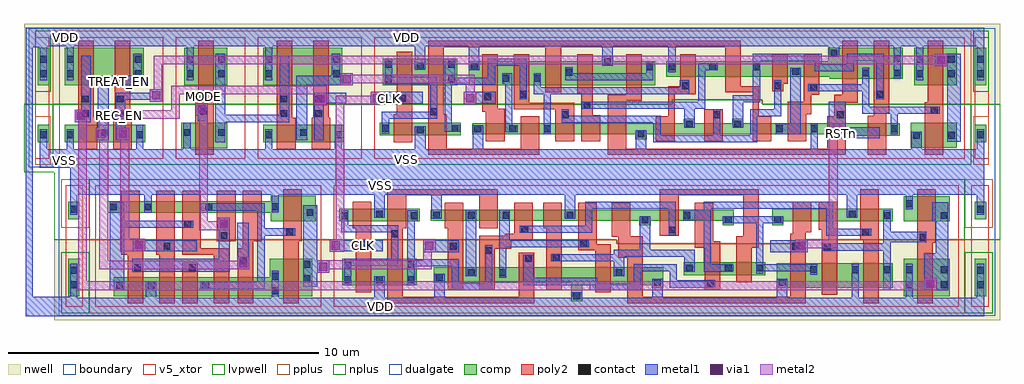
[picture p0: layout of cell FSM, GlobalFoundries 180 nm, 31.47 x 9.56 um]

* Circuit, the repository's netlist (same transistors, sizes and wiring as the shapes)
* Extracted by KLayout with GF180MCU LVS runset on : 11/08/2026 02:36

.SUBCKT FSM VDD RN|SETN Q|S0 D|Z I1|TREAT_EN M|S I0|Q|REC_EN CLK VSS Mb D
+ gf180mcu_gnd
M$1 VDD M|S \$4 VDD pfet_05v0 L=0.5U W=0.615U AS=0.2706P AD=0.1599P PS=2.11U
+ PD=1.135U
M$2 \$14 I0|Q|REC_EN VDD VDD pfet_05v0 L=0.5U W=0.615U AS=0.1599P AD=0.0738P
+ PS=1.135U PD=0.855U
M$3 \$5 M|S \$14 VDD pfet_05v0 L=0.5U W=0.615U AS=0.0738P AD=0.1599P PS=0.855U
+ PD=1.135U
M$4 \$13 \$4 \$5 VDD pfet_05v0 L=0.5U W=0.615U AS=0.1599P AD=0.0845625P
+ PS=1.135U PD=0.89U
M$5 VDD I1|TREAT_EN \$13 VDD pfet_05v0 L=0.5U W=0.615U AS=0.0845625P
+ AD=0.4298375P PS=0.89U PD=2.185U
M$6 D|Z \$5 VDD VDD pfet_05v0 L=0.5U W=1.22U AS=0.4298375P AD=0.5368P PS=2.185U
+ PD=3.32U
M$7 \$9 D|Z VDD VDD pfet_05v0 L=0.5U W=0.505U AS=0.22725P AD=0.1313P PS=1.91U
+ PD=1.025U
M$8 \$10 \$8 \$9 VDD pfet_05v0 L=0.5U W=0.505U AS=0.1313P AD=0.1931625P
+ PS=1.025U PD=1.27U
M$9 \$28 \$7 \$10 VDD pfet_05v0 L=0.5U W=0.505U AS=0.1931625P AD=0.101P
+ PS=1.27U PD=0.905U
M$10 \$28 \$11 VDD VDD pfet_05v0 L=0.5U W=0.505U AS=0.3975P AD=0.101P PS=2.185U
+ PD=0.905U
M$11 \$11 \$10 VDD VDD pfet_05v0 L=0.5U W=0.585U AS=0.3975P AD=0.1521P
+ PS=2.185U PD=1.105U
M$12 \$11 RN|SETN VDD VDD pfet_05v0 L=0.5U W=0.585U AS=0.4149P AD=0.1521P
+ PS=2.65U PD=1.105U
M$13 \$20 RN|SETN VDD VDD pfet_05v0 L=0.5U W=0.78U AS=0.3432P AD=0.2028P
+ PS=2.44U PD=1.3U
M$14 VDD \$12 \$20 VDD pfet_05v0 L=0.5U W=0.78U AS=0.2028P AD=0.3276P PS=1.3U
+ PD=1.62U
M$15 \$12 \$19 VDD VDD pfet_05v0 L=0.5U W=0.78U AS=0.3276P AD=0.3432P PS=1.62U
+ PD=2.44U
M$16 \$19 \$7 \$11 VDD pfet_05v0 L=0.5U W=0.415U AS=0.27805P AD=0.1079P
+ PS=2.17U PD=0.935U
M$17 \$20 \$8 \$19 VDD pfet_05v0 L=0.5U W=0.415U AS=0.1079P AD=0.1826P
+ PS=0.935U PD=1.71U
M$18 VDD CLK \$7 VDD pfet_05v0 L=0.5U W=0.865U AS=0.3806P AD=0.2249P PS=2.61U
+ PD=1.385U
M$19 \$8 \$7 VDD VDD pfet_05v0 L=0.5U W=0.865U AS=0.2249P AD=0.3806P PS=1.385U
+ PD=2.61U
M$20 Q|S0 \$12 VDD VDD pfet_05v0 L=0.5U W=1.215U AS=0.5346P AD=0.6561P PS=3.31U
+ PD=3.51U
M$21 \$49 D VDD VDD pfet_05v0 L=0.5U W=0.78U AS=0.3432P AD=0.2028P PS=2.44U
+ PD=1.3U
M$22 \$52 \$51 \$49 VDD pfet_05v0 L=0.5U W=0.78U AS=0.2028P AD=0.2028P PS=1.3U
+ PD=1.3U
M$23 \$67 \$48 \$52 VDD pfet_05v0 L=0.5U W=0.78U AS=0.2028P AD=0.2028P PS=1.3U
+ PD=1.3U
M$24 VDD \$53 \$67 VDD pfet_05v0 L=0.5U W=0.78U AS=0.2028P AD=0.45P PS=1.3U
+ PD=2.02U
M$25 \$67 RN|SETN VDD VDD pfet_05v0 L=0.5U W=0.78U AS=0.45P AD=0.3432P PS=2.02U
+ PD=2.44U
M$26 \$53 \$52 VDD VDD pfet_05v0 L=0.5U W=0.505U AS=0.2222P AD=0.2424P PS=1.89U
+ PD=1.465U
M$27 \$54 \$48 \$53 VDD pfet_05v0 L=0.5U W=0.505U AS=0.2424P AD=0.2537625P
+ PS=1.465U PD=1.51U
M$28 \$55 \$51 \$54 VDD pfet_05v0 L=0.5U W=0.505U AS=0.2537625P AD=0.1313P
+ PS=1.51U PD=1.025U
M$29 \$55 \$56 VDD VDD pfet_05v0 L=0.5U W=0.505U AS=0.29465P AD=0.1313P
+ PS=1.74U PD=1.025U
M$30 \$56 RN|SETN VDD VDD pfet_05v0 L=0.5U W=1U AS=0.29465P AD=0.26P PS=1.74U
+ PD=1.52U
M$31 VDD \$54 \$56 VDD pfet_05v0 L=0.5U W=1U AS=0.26P AD=0.44P PS=1.52U PD=2.88U
M$32 VDD CLK \$48 VDD pfet_05v0 L=0.5U W=0.865U AS=0.3806P AD=0.2249P PS=2.61U
+ PD=1.385U
M$33 \$51 \$48 VDD VDD pfet_05v0 L=0.5U W=0.865U AS=0.2249P AD=0.3806P
+ PS=1.385U PD=2.61U
M$34 I0|Q|REC_EN \$56 VDD VDD pfet_05v0 L=0.5U W=1.215U AS=0.5346P AD=0.5346P
+ PS=3.31U PD=3.31U
M$35 \$69 Q|S0 VDD VDD pfet_05v0 L=0.5U W=1.22U AS=0.5368P AD=0.4087P PS=3.32U
+ PD=1.89U
M$36 I1|TREAT_EN I0|Q|REC_EN \$69 VDD pfet_05v0 L=0.5U W=1.22U AS=0.4087P
+ AD=0.5368P PS=1.89U PD=3.32U
M$37 Mb M|S VDD VDD pfet_05v0 L=0.5U W=1.22U AS=0.5368P AD=0.5368P PS=3.32U
+ PD=3.32U
M$38 \$72 Mb VDD VDD pfet_05v0 L=0.5U W=1.22U AS=0.5368P AD=0.4087P PS=3.32U
+ PD=1.89U
M$39 D I1|TREAT_EN \$72 VDD pfet_05v0 L=0.5U W=1.22U AS=0.4087P AD=0.5368P
+ PS=1.89U PD=3.32U
M$40 \$9 D|Z VSS gf180mcu_gnd nfet_05v0 L=0.6U W=0.36U AS=0.1584P AD=0.0936P
+ PS=1.6U PD=0.88U
M$41 \$10 \$7 \$9 gf180mcu_gnd nfet_05v0 L=0.6U W=0.36U AS=0.0936P AD=0.0936P
+ PS=0.88U PD=0.88U
M$42 \$46 \$8 \$10 gf180mcu_gnd nfet_05v0 L=0.6U W=0.36U AS=0.0936P AD=0.0621P
+ PS=0.88U PD=0.705U
M$43 VSS \$11 \$46 gf180mcu_gnd nfet_05v0 L=0.6U W=0.36U AS=0.0621P AD=0.0936P
+ PS=0.705U PD=0.88U
M$44 \$44 \$10 VSS gf180mcu_gnd nfet_05v0 L=0.6U W=0.36U AS=0.0936P AD=0.0864P
+ PS=0.88U PD=0.84U
M$45 \$44 RN|SETN \$11 gf180mcu_gnd nfet_05v0 L=0.6U W=0.36U AS=0.1989P
+ AD=0.0864P PS=1.465U PD=0.84U
M$46 \$19 \$8 \$11 gf180mcu_gnd nfet_05v0 L=0.6U W=0.36U AS=0.1989P AD=0.0936P
+ PS=1.465U PD=0.88U
M$47 \$19 \$7 \$20 gf180mcu_gnd nfet_05v0 L=0.6U W=0.36U AS=0.2898P AD=0.0936P
+ PS=2.33U PD=0.88U
M$48 VSS CLK \$7 gf180mcu_gnd nfet_05v0 L=0.6U W=0.405U AS=0.1782P AD=0.1053P
+ PS=1.69U PD=0.925U
M$49 \$8 \$7 VSS gf180mcu_gnd nfet_05v0 L=0.6U W=0.405U AS=0.1053P AD=0.1782P
+ PS=0.925U PD=1.69U
M$50 \$40 RN|SETN \$20 gf180mcu_gnd nfet_05v0 L=0.6U W=0.405U AS=0.3123P
+ AD=0.0486P PS=2.38U PD=0.645U
M$51 VSS \$12 \$40 gf180mcu_gnd nfet_05v0 L=0.6U W=0.405U AS=0.0486P
+ AD=0.14985P PS=0.645U PD=1.145U
M$52 \$12 \$19 VSS gf180mcu_gnd nfet_05v0 L=0.6U W=0.405U AS=0.14985P
+ AD=0.1782P PS=1.145U PD=1.69U
M$53 VSS M|S \$4 gf180mcu_gnd nfet_05v0 L=0.6U W=0.36U AS=0.1584P AD=0.0936P
+ PS=1.6U PD=0.88U
M$54 \$42 I0|Q|REC_EN VSS gf180mcu_gnd nfet_05v0 L=0.6U W=0.36U AS=0.0936P
+ AD=0.0432P PS=0.88U PD=0.6U
M$55 \$5 \$4 \$42 gf180mcu_gnd nfet_05v0 L=0.6U W=0.36U AS=0.0432P AD=0.0936P
+ PS=0.6U PD=0.88U
M$56 \$43 M|S \$5 gf180mcu_gnd nfet_05v0 L=0.6U W=0.36U AS=0.0936P AD=0.0432P
+ PS=0.88U PD=0.6U
M$57 \$43 I1|TREAT_EN VSS gf180mcu_gnd nfet_05v0 L=0.6U W=0.36U AS=0.218P
+ AD=0.0432P PS=1.52U PD=0.6U
M$58 D|Z \$5 VSS gf180mcu_gnd nfet_05v0 L=0.6U W=0.82U AS=0.218P AD=0.3608P
+ PS=1.52U PD=2.52U
M$59 Q|S0 \$12 VSS gf180mcu_gnd nfet_05v0 L=0.6U W=0.815U AS=0.3586P AD=0.3586P
+ PS=2.51U PD=2.51U
M$60 I1|TREAT_EN Q|S0 VSS gf180mcu_gnd nfet_05v0 L=0.6U W=0.565U AS=0.2486P
+ AD=0.1469P PS=2.01U PD=1.085U
M$61 VSS I0|Q|REC_EN I1|TREAT_EN gf180mcu_gnd nfet_05v0 L=0.6U W=0.565U
+ AS=0.1469P AD=0.2486P PS=1.085U PD=2.01U
M$62 D Mb VSS gf180mcu_gnd nfet_05v0 L=0.6U W=0.565U AS=0.2486P AD=0.1469P
+ PS=2.01U PD=1.085U
M$63 VSS I1|TREAT_EN D gf180mcu_gnd nfet_05v0 L=0.6U W=0.565U AS=0.1469P
+ AD=0.2486P PS=1.085U PD=2.01U
M$64 \$49 D VSS gf180mcu_gnd nfet_05v0 L=0.6U W=0.36U AS=0.1584P AD=0.0936P
+ PS=1.6U PD=0.88U
M$65 \$52 \$48 \$49 gf180mcu_gnd nfet_05v0 L=0.6U W=0.36U AS=0.0936P AD=0.0936P
+ PS=0.88U PD=0.88U
M$66 \$66 \$51 \$52 gf180mcu_gnd nfet_05v0 L=0.6U W=0.36U AS=0.0936P AD=0.0432P
+ PS=0.88U PD=0.6U
M$67 \$65 \$53 \$66 gf180mcu_gnd nfet_05v0 L=0.6U W=0.36U AS=0.0432P AD=0.0432P
+ PS=0.6U PD=0.6U
M$68 \$65 RN|SETN VSS gf180mcu_gnd nfet_05v0 L=0.6U W=0.36U AS=0.2016P
+ AD=0.0432P PS=1.48U PD=0.6U
M$69 \$53 \$52 VSS gf180mcu_gnd nfet_05v0 L=0.6U W=0.36U AS=0.2016P AD=0.2007P
+ PS=1.48U PD=1.475U
M$70 \$54 \$51 \$53 gf180mcu_gnd nfet_05v0 L=0.6U W=0.36U AS=0.2007P AD=0.2007P
+ PS=1.475U PD=1.475U
M$71 \$55 \$48 \$54 gf180mcu_gnd nfet_05v0 L=0.6U W=0.36U AS=0.2007P AD=0.0945P
+ PS=1.475U PD=0.885U
M$72 VSS \$56 \$55 gf180mcu_gnd nfet_05v0 L=0.6U W=0.36U AS=0.0945P AD=0.1224P
+ PS=0.885U PD=1.04U
M$73 VSS RN|SETN \$61 gf180mcu_gnd nfet_05v0 L=0.6U W=0.36U AS=0.134P
+ AD=0.1224P PS=1.1U PD=1.04U
M$74 \$56 \$54 \$61 gf180mcu_gnd nfet_05v0 L=0.6U W=0.4U AS=0.134P AD=0.176P
+ PS=1.1U PD=1.68U
M$75 Mb M|S VSS gf180mcu_gnd nfet_05v0 L=0.6U W=0.82U AS=0.3608P AD=0.3608P
+ PS=2.52U PD=2.52U
M$76 VSS CLK \$48 gf180mcu_gnd nfet_05v0 L=0.6U W=0.405U AS=0.1782P AD=0.1053P
+ PS=1.69U PD=0.925U
M$77 \$51 \$48 VSS gf180mcu_gnd nfet_05v0 L=0.6U W=0.405U AS=0.1053P AD=0.1782P
+ PS=0.925U PD=1.69U
M$78 I0|Q|REC_EN \$56 VSS gf180mcu_gnd nfet_05v0 L=0.6U W=0.815U AS=0.3586P
+ AD=0.3586P PS=2.51U PD=2.51U
.ENDS FSM

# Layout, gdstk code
from math import pi, radians
import gdstk
lib = gdstk.Library(unit=1e-6, precision=1e-09)
def R(c, l, rs):  # rectangles x0, y0, x1, y1
    for r in rs: c.add(gdstk.rectangle(r[:2], r[2:], *l))
def A(c, l, x, y, w, h, nx, ny, dx, dy):  # array of equal rectangles
    R(c, l, [(x+i*dx, y+j*dy, x+i*dx+w, y+j*dy+h) for i in range(nx) for j in range(ny)])
def P(c, l, *ps):  # polygons
    for p in ps: c.add(gdstk.Polygon(p, *l))
boundary = (0, 0)
nwell = (21, 0)
comp = (22, 0)
poly2 = (30, 0)
pplus = (31, 0)
nplus = (32, 0)
contact = (33, 0)
metal1 = (34, 0)
via1 = (35, 0)
metal2 = (36, 0)
dualgate = (55, 0)
v5_xtor = (112, 1)
lvpwell = (204, 0)

mux21 = lib.new_cell('mux21')
R(mux21, boundary, [(-14.655,13.69,-7.375,17.61)])
R(mux21, nwell, [(-15.085,13.26,-7.035,15.85)])
P(mux21, comp, [(-14.475,16.45),(-14.475,17.27),(-13.035,17.27),(-13.035,17.09),(-7.775,17.09),(-7.775,16.73),(-13.035,16.73),(-13.035,16.45)],
  [(-14.375,14.03),(-14.375,15.25),(-12.995,15.25),(-12.995,14.645),(-7.975,14.645),(-7.975,14.03)])
R(mux21, poly2, [(-10.675,13.81,-10.175,15.135), (-11.895,15.815,-11.295,17.435)])
P(mux21, poly2, [(-8.915,13.81),(-8.915,15.815),(-8.815,15.815),(-8.815,17.435),(-8.215,17.435),(-8.215,15.375),(-8.415,15.375),(-8.415,13.81)],
  [(-9.935,13.81),(-9.935,17.435),(-9.335,17.435),(-9.335,15.375),(-9.435,15.375),(-9.435,13.81)],
  [(-11.695,13.81),(-11.695,15.575),(-10.775,15.575),(-10.775,17.435),(-10.175,17.435),(-10.175,15.375),(-11.195,15.375),(-11.195,13.81)],
  [(-12.47,13.81),(-12.47,15.815),(-12.735,15.815),(-12.735,17.435),(-12.135,17.435),(-12.135,15.575),(-11.97,15.575),(-11.97,13.81)],
  [(-13.935,13.81),(-13.935,15.815),(-14.035,15.815),(-14.035,17.49),(-13.435,17.49),(-13.435,13.81)])
R(mux21, pplus, [(-14.855,13.49,-7.175,15.85)])
R(mux21, nplus, [(-14.855,15.85,-7.175,17.81)])
R(mux21, contact, [(-13.285,14.1,-13.065,14.32), (-11.045,14.275,-10.825,14.495), (-9.285,14.275,-9.065,14.495), (-8.265,14.275,-8.045,14.495), (-14.305,14.49,-14.085,14.71), (-13.285,14.57,-13.065,14.79), (-10.605,14.845,-10.385,15.065), (-8.845,14.845,-8.625,15.065), (-14.305,14.96,-14.085,15.18), (-12.26,15.085,-12.04,15.305), (-9.795,15.54,-9.575,15.76), (-11.635,15.885,-11.415,16.105), (-13.755,15.99,-13.535,16.21), (-10.465,16.24,-10.245,16.46), (-14.405,16.625,-14.185,16.845), (-11.145,16.8,-10.925,17.02), (-9.185,16.8,-8.965,17.02), (-8.065,16.8,-7.845,17.02), (-13.285,16.805,-13.065,17.025)])
R(mux21, metal1, [(-14.525,14.34,-14.08,16.96), (-12.325,14.9,-11.945,16.4), (-10.645,15.49,-8.585,15.84)])
P(mux21, metal1, [(-9.19,16.73),(-9.19,17.31),(-13.06,17.31),(-13.06,16.745),(-13.29,16.745),(-13.29,17.31),(-14.655,17.31),(-14.655,18.17),(-7.375,18.17),(-7.375,17.31),(-8.96,17.31),(-8.96,16.73)],
  [(-14.655,13.39),(-14.655,13.99),(-13.29,13.99),(-13.29,14.85),(-13.06,14.85),(-13.06,13.99),(-9.345,13.99),(-9.345,14.505),(-9.005,14.505),(-9.005,13.99),(-7.375,13.99),(-7.375,13.39)],
  [(-8.305,14.23),(-8.305,16.235),(-10.53,16.235),(-10.53,16.465),(-8.305,16.465),(-8.305,17.08),(-7.84,17.08),(-7.84,14.23)],
  [(-11.715,14.825),(-11.715,16.165),(-11.36,16.165),(-11.36,15.25),(-8.565,15.25),(-8.565,14.825)],
  [(-12.83,14.27),(-12.83,15.985),(-13.815,15.985),(-13.815,16.22),(-12.83,16.22),(-12.83,17.035),(-10.775,17.035),(-10.775,16.795),(-12.6,16.795),(-12.6,14.5),(-10.765,14.5),(-10.765,14.27)])
R(mux21, dualgate, [(-14.935,13.41,-7.095,18.19)])
R(mux21, v5_xtor, [(-14.655,13.69,-7.375,17.61)])
R(mux21, lvpwell, [(-15.085,15.85,-7.035,18.04)])
mux21.add(gdstk.Label('& Metric 1.00', (-15.115,17.11), layer=63, texttype=63))
mux21.add(gdstk.Label('& Version 2015q2v1', (-15.115,16.61), layer=63, texttype=63))
mux21.add(gdstk.Label('& Product GF018hv5v_mcu_sc7', (-15.115,16.11), layer=63, texttype=63))
mux21.add(gdstk.Label('& Vendor GLOBALFOUNDRIES', (-15.115,15.61), layer=63, texttype=63))
mux21.add(gdstk.Label('VNW', (-14.31,13.69), layer=21, texttype=10))
mux21.add(gdstk.Label('VPW', (-14.315,17.695), layer=204, texttype=10))

nor2_2 = lib.new_cell('nor2_2')
R(nor2_2, boundary, [(-19.745,7.125,-16.385,11.045)])
R(nor2_2, nwell, [(-20.175,8.885,-16.185,11.475)])
R(nor2_2, comp, [(-19.565,7.65,-16.965,8.215), (-19.565,9.485,-17.015,10.705)])
P(nor2_2, poly2, [(-19.125,7.43),(-19.125,10.925),(-18.625,10.925),(-18.625,8.44),(-18.525,8.44),(-18.525,7.43)],
  [(-18.005,7.43),(-18.005,8.44),(-17.955,8.44),(-17.955,10.925),(-17.455,10.925),(-17.455,8.44),(-17.405,8.44),(-17.405,7.43)])
R(nor2_2, pplus, [(-19.945,8.885,-16.185,11.245)])
R(nor2_2, nplus, [(-19.945,6.925,-16.185,8.885)])
R(nor2_2, contact, [(-19.495,7.79,-19.275,8.01), (-17.255,7.79,-17.035,8.01), (-18.375,7.86,-18.155,8.08), (-19.005,8.47,-18.785,8.69), (-17.885,8.47,-17.665,8.69), (-19.005,8.94,-18.785,9.16), (-17.885,8.94,-17.665,9.16), (-19.495,9.755,-19.275,9.975), (-17.305,9.755,-17.085,9.975), (-19.495,10.225,-19.275,10.445), (-17.305,10.225,-17.085,10.445)])
R(nor2_2, metal1, [(-19.04,8.305,-18.735,10.445)])
P(nor2_2, metal1, [(-18.505,7.725),(-18.505,9.805),(-17.36,9.805),(-17.36,10.505),(-17.08,10.505),(-17.08,9.485),(-18.15,9.485),(-18.15,7.725)],
  [(-17.92,7.725),(-17.92,9.255),(-16.89,9.255),(-16.89,8.915),(-17.615,8.915),(-17.615,7.725)],
  [(-19.745,6.825),(-19.745,7.425),(-19.5,7.425),(-19.5,8.07),(-19.27,8.07),(-19.27,7.425),(-17.26,7.425),(-17.26,8.215),(-17.03,8.215),(-17.03,7.425),(-16.385,7.425),(-16.385,6.825)],
  [(-19.5,9.655),(-19.5,10.745),(-19.745,10.745),(-19.745,11.345),(-16.385,11.345),(-16.385,10.745),(-19.27,10.745),(-19.27,9.655)])
R(nor2_2, dualgate, [(-20.025,6.845,-16.105,11.325)])
R(nor2_2, v5_xtor, [(-19.745,7.125,-16.385,11.045)])
R(nor2_2, lvpwell, [(-20.175,6.695,-15.955,8.885)])
nor2_2.add(gdstk.Label('& Metric 1.00', (-19.745,7.625), layer=63, texttype=63))
nor2_2.add(gdstk.Label('& Version 2015q2v1', (-19.745,8.125), layer=63, texttype=63))
nor2_2.add(gdstk.Label('& Product GF018hv5v_mcu_sc7', (-19.745,8.625), layer=63, texttype=63))
nor2_2.add(gdstk.Label('& Vendor GLOBALFOUNDRIES', (-19.745,9.125), layer=63, texttype=63))

dffsnq = lib.new_cell('dffsnq')
R(dffsnq, boundary, [(15.93,14.02,36.09,17.94)])
P(dffsnq, nwell, [(15.73,13.59),(15.73,16.18),(25.065,16.18),(25.065,16.055),(31.095,16.055),(31.095,16.18),(36.52,16.18),(36.52,13.59)])
R(dffsnq, comp, [(34.315,14.365,35.795,15.58), (30.215,14.64,33.955,15.42), (16.21,14.715,18.61,15.58), (27.225,15.04,29.855,15.455), (16.11,16.78,18.71,17.185), (34.315,16.78,35.795,17.595)])
P(dffsnq, comp, [(30.075,16.655),(30.075,17.185),(33.955,17.185),(33.955,16.78),(30.435,16.78),(30.435,16.655)],
  [(25.795,16.655),(25.795,16.8),(19.07,16.8),(19.07,17.16),(28.835,17.16),(28.835,16.655),(28.475,16.655),(28.475,16.8),(26.155,16.8),(26.155,16.655)],
  [(23.595,14.2),(23.595,14.8),(19.16,14.8),(19.16,15.305),(26.555,15.305),(26.555,14.64),(26.195,14.64),(26.195,14.72),(23.955,14.72),(23.955,14.2)])
P(dffsnq, poly2, [(34.755,14.14),(34.755,17.82),(35.355,17.82),(35.355,16.09),(35.255,16.09),(35.255,14.14)],
  [(33.015,14.14),(33.015,16.185),(32.915,16.185),(32.915,17.82),(33.515,17.82),(33.515,14.14)],
  [(31.675,14.42),(31.675,16.5),(31.575,16.5),(31.575,17.405),(32.175,17.405),(32.175,14.42)],
  [(25.395,14.14),(25.395,15.605),(25.115,15.605),(25.115,16.285),(24.895,16.285),(24.895,17.38),(25.495,17.38),(25.495,16.305),(25.895,16.305),(25.895,14.34),(30.655,14.34),(30.655,16.385),(30.735,16.385),(30.735,17.405),(31.335,17.405),(31.335,16.435),(31.155,16.435),(31.155,14.14)],
  [(28.915,14.82),(28.915,16.305),(29.135,16.305),(29.135,17.62),(27.055,17.62),(27.055,16.32),(26.455,16.32),(26.455,17.82),(29.635,17.82),(29.635,15.935),(29.415,15.935),(29.415,14.82)],
  [(27.895,14.58),(27.895,15.935),(27.575,15.935),(27.575,17.38),(28.175,17.38),(28.175,16.135),(28.395,16.135),(28.395,14.58)],
  [(24.375,14.5),(24.375,15.845),(23.815,15.845),(23.815,17.38),(24.415,17.38),(24.415,16.045),(24.875,16.045),(24.875,14.5)],
  [(22.795,14.58),(22.795,16.56),(22.695,16.56),(22.695,17.38),(23.295,17.38),(23.295,14.58)],
  [(17.67,14.14),(17.67,17.82),(21.23,17.82),(21.23,16.56),(20.63,16.56),(20.63,17.62),(18.27,17.62),(18.27,16.56),(18.17,16.56),(18.17,14.34),(21.895,14.34),(21.895,15.765),(22.395,15.765),(22.395,14.14)],
  [(20.63,14.58),(20.63,16.32),(21.465,16.32),(21.465,16.385),(21.75,16.385),(21.75,17.38),(22.35,17.38),(22.35,16.185),(21.665,16.185),(21.665,15.89),(21.13,15.89),(21.13,14.58)],
  [(19.61,14.58),(19.61,16.56),(19.51,16.56),(19.51,17.38),(20.11,17.38),(20.11,14.58)],
  [(16.65,14.49),(16.65,16.56),(16.55,16.56),(16.55,17.405),(17.15,17.405),(17.15,14.49)])
P(dffsnq, pplus, [(15.73,13.82),(15.73,16.18),(25.065,16.18),(25.065,16.055),(31.095,16.055),(31.095,16.18),(36.29,16.18),(36.29,13.82)])
P(dffsnq, nplus, [(25.065,16.055),(25.065,16.18),(15.73,16.18),(15.73,18.14),(36.29,18.14),(36.29,16.18),(31.095,16.18),(31.095,16.055)])
A(dffsnq, contact, 16.28, 14.785, 0.22, 0.22, 3, 1, 1.02, 0)
A(dffsnq, contact, 19.14, 16.87, 0.22, 0.22, 3, 1, 1.12, 0)
R(dffsnq, contact, [(23.665,14.27,23.885,14.49), (34.385,14.62,34.605,14.84), (35.505,14.62,35.725,14.84), (27.965,14.65,28.185,14.87), (26.265,14.71,26.485,14.93), (30.285,14.71,30.505,14.93), (19.23,14.87,19.45,15.09), (20.26,15.015,20.48,15.235), (21.28,15.015,21.5,15.235), (25.025,15.015,25.245,15.235), (32.645,15.11,32.865,15.33), (33.665,15.11,33.885,15.33), (34.385,15.11,34.605,15.33), (35.505,15.11,35.725,15.33), (31.305,15.115,31.525,15.335), (27.295,15.165,27.515,15.385), (28.545,15.165,28.765,15.385), (29.565,15.165,29.785,15.385), (16.28,15.255,16.5,15.475), (18.32,15.275,18.54,15.495), (22.105,15.475,22.325,15.695), (23.005,15.49,23.225,15.71), (20.82,15.73,21.04,15.95), (31.745,15.85,31.965,16.07), (19.68,15.87,19.9,16.09), (30.725,15.87,30.945,16.09), (16.72,15.915,16.94,16.135), (23.885,15.95,24.105,16.17), (34.825,16.16,35.045,16.38), (17.795,16.265,18.015,16.485), (32.985,16.315,33.205,16.535), (26.745,16.39,26.965,16.61), (21.99,16.41,22.21,16.63), (25.865,16.725,26.085,16.945), (28.545,16.725,28.765,16.945), (30.145,16.725,30.365,16.945), (16.18,16.85,16.4,17.07), (18.42,16.85,18.64,17.07), (33.665,16.855,33.885,17.075), (35.505,16.855,35.725,17.075), (23.445,16.87,23.665,17.09), (27.205,16.87,27.425,17.09), (17.3,16.895,17.52,17.115), (32.545,16.895,32.765,17.115), (34.385,17.235,34.605,17.455)])
R(dffsnq, metal1, [(20.2,15.01,20.54,17.15), (18.82,15.79,19.96,16.17), (30.02,15.79,31.215,16.17), (16.205,15.81,17.52,16.175)])
P(dffsnq, metal1, [(19.08,16.865),(19.08,17.64),(17.58,17.64),(17.58,16.89),(17.24,16.89),(17.24,17.64),(15.93,17.64),(15.93,18.5),(36.09,18.5),(36.09,17.64),(34.61,17.64),(34.61,17.175),(34.38,17.175),(34.38,17.64),(32.825,17.64),(32.825,16.89),(32.485,16.89),(32.485,17.64),(23.725,17.64),(23.725,16.865),(23.385,16.865),(23.385,17.64),(19.42,17.64),(19.42,16.865)],
  [(15.93,13.72),(15.93,14.32),(17.24,14.32),(17.24,15.01),(17.58,15.01),(17.58,14.32),(19.17,14.32),(19.17,15.095),(19.51,15.095),(19.51,14.32),(23.605,14.32),(23.605,14.495),(23.945,14.495),(23.945,14.32),(26.205,14.32),(26.205,14.935),(26.545,14.935),(26.545,14.32),(30.225,14.32),(30.225,14.935),(30.565,14.935),(30.565,14.32),(32.64,14.32),(32.64,15.41),(32.87,15.41),(32.87,14.32),(34.38,14.32),(34.38,15.41),(34.61,15.41),(34.61,14.32),(36.09,14.32),(36.09,13.72)],
  [(34.975,14.56),(34.975,15.75),(35.355,15.75),(35.355,16.78),(35.23,16.78),(35.23,17.39),(35.745,17.39),(35.745,14.56)],
  [(33.66,14.56),(33.66,15.835),(31.685,15.835),(31.685,16.08),(33.66,16.08),(33.66,17.135),(33.89,17.135),(33.89,16.44),(35.05,16.44),(35.05,16.1),(33.89,16.1),(33.89,14.56)],
  [(27.86,15.16),(27.86,16.81),(27.2,16.81),(27.2,17.15),(27.86,17.15),(27.86,17.41),(32.04,17.41),(32.04,16.545),(33.265,16.545),(33.265,16.31),(31.81,16.31),(31.81,17.18),(28.09,17.18),(28.09,15.39),(28.825,15.39),(28.825,15.16)],
  [(31.3,15.055),(31.3,15.165),(29.79,15.165),(29.79,15.095),(29.56,15.095),(29.56,16.72),(28.485,16.72),(28.485,16.95),(30.425,16.95),(30.425,16.72),(29.79,16.72),(29.79,15.4),(31.53,15.4),(31.53,15.055)],
  [(24.2,14.55),(24.2,14.725),(22.045,14.725),(22.045,15.7),(22.385,15.7),(22.385,14.955),(24.43,14.955),(24.43,14.78),(25.615,14.78),(25.615,15.4),(27.005,15.4),(27.005,14.875),(28.245,14.875),(28.245,14.645),(26.775,14.645),(26.775,15.165),(25.845,15.165),(25.845,14.55)],
  [(24.965,15.01),(24.965,15.485),(22.945,15.485),(22.945,15.715),(24.965,15.715),(24.965,15.86),(25.805,15.86),(25.805,16.95),(26.145,16.95),(26.145,15.86),(27.575,15.86),(27.575,15.16),(27.235,15.16),(27.235,15.63),(25.305,15.63),(25.305,15.01)],
  [(26.74,16.325),(26.74,17.18),(24.27,17.18),(24.27,16.405),(21.93,16.405),(21.93,16.635),(24.04,16.635),(24.04,17.41),(26.97,17.41),(26.97,16.325)],
  [(21.275,14.955),(21.275,17.15),(21.605,17.15),(21.605,16.175),(24.165,16.175),(24.165,15.945),(21.505,15.945),(21.505,14.955)],
  [(19.74,14.55),(19.74,15.325),(18.545,15.325),(18.545,14.715),(18.315,14.715),(18.315,17.13),(18.645,17.13),(18.645,16.79),(18.55,16.79),(18.55,15.56),(19.97,15.56),(19.97,14.78),(20.815,14.78),(20.815,16.01),(21.045,16.01),(21.045,14.55)],
  [(16.275,14.715),(16.275,15.58),(17.79,15.58),(17.79,16.43),(16.175,16.43),(16.175,17.13),(16.405,17.13),(16.405,16.66),(18.02,16.66),(18.02,15.345),(16.505,15.345),(16.505,14.715)])
R(dffsnq, dualgate, [(15.65,13.74,36.37,18.52)])
R(dffsnq, v5_xtor, [(15.93,14.02,36.09,17.94)])
P(dffsnq, lvpwell, [(25.065,16.055),(25.065,16.18),(15.5,16.18),(15.5,18.37),(36.52,18.37),(36.52,16.18),(31.095,16.18),(31.095,16.055)])
dffsnq.add(gdstk.Label('& Metric 1.00', (16.39,17.44), layer=63, texttype=63))
dffsnq.add(gdstk.Label('& Version 2015q2v1', (16.39,16.94), layer=63, texttype=63))
dffsnq.add(gdstk.Label('& Product GF018hv5v_mcu_sc7', (16.39,16.44), layer=63, texttype=63))
dffsnq.add(gdstk.Label('& Vendor GLOBALFOUNDRIES', (16.39,15.94), layer=63, texttype=63))
dffsnq.add(gdstk.Label('VNW', (16.275,14.02), layer=21, texttype=10))
dffsnq.add(gdstk.Label('VPW', (16.27,18.025), layer=204, texttype=10))

nor2_1 = lib.new_cell('nor2_1')
R(nor2_1, boundary, [(-25.765,18.49,-22.405,22.41)])
R(nor2_1, nwell, [(-26.195,20.25,-21.975,22.84)])
R(nor2_1, comp, [(-25.585,19.015,-22.985,19.58), (-25.585,20.85,-23.035,22.07)])
P(nor2_1, poly2, [(-25.145,18.795),(-25.145,22.29),(-24.645,22.29),(-24.645,19.805),(-24.545,19.805),(-24.545,18.795)],
  [(-24.025,18.795),(-24.025,19.805),(-23.975,19.805),(-23.975,22.29),(-23.475,22.29),(-23.475,19.805),(-23.425,19.805),(-23.425,18.795)])
R(nor2_1, pplus, [(-25.965,20.25,-22.205,22.61)])
R(nor2_1, nplus, [(-25.965,18.29,-22.205,20.25)])
R(nor2_1, contact, [(-25.515,19.155,-25.295,19.375), (-23.275,19.155,-23.055,19.375), (-24.395,19.225,-24.175,19.445), (-25.025,19.835,-24.805,20.055), (-23.905,19.835,-23.685,20.055), (-25.025,20.305,-24.805,20.525), (-23.905,20.305,-23.685,20.525), (-25.515,21.12,-25.295,21.34), (-23.325,21.12,-23.105,21.34), (-25.515,21.59,-25.295,21.81), (-23.325,21.59,-23.105,21.81)])
R(nor2_1, metal1, [(-25.06,19.67,-24.755,21.81)])
P(nor2_1, metal1, [(-23.94,19.09),(-23.94,20.62),(-23.635,20.62),(-23.635,20.28),(-23.635,19.09)],
  [(-25.52,21.02),(-25.52,22.11),(-25.765,22.11),(-25.765,22.71),(-22.415,22.71),(-22.415,22.11),(-25.29,22.11),(-25.29,21.02)],
  [(-25.765,18.19),(-25.765,18.79),(-25.52,18.79),(-25.52,19.435),(-25.29,19.435),(-25.29,18.79),(-23.28,18.79),(-23.28,19.58),(-23.05,19.58),(-23.05,18.79),(-22.415,18.79),(-22.415,18.19)],
  [(-24.525,19.09),(-24.525,21.17),(-23.38,21.17),(-23.38,21.87),(-23.1,21.87),(-23.1,20.85),(-24.17,20.85),(-24.17,19.09)])
R(nor2_1, dualgate, [(-26.045,18.21,-22.125,22.69)])
R(nor2_1, v5_xtor, [(-25.765,18.49,-22.405,22.41)])
R(nor2_1, lvpwell, [(-26.195,18.06,-21.975,20.25)])

tap = lib.new_cell('tap')
R(tap, boundary, [(0.635,0.43,1.195,4.35)])
R(tap, nwell, [(0.265,0,1.395,2.59)])
R(tap, comp, [(0.715,0.77,1.075,1.99), (0.715,3.26,1.075,3.825)])
R(tap, pplus, [(0.495,2.99,1.395,4.55)])
R(tap, nplus, [(0.495,0.23,1.395,2.19)])
R(tap, contact, [(0.785,1.03,1.005,1.25), (0.785,1.5,1.005,1.72), (0.785,3.465,1.005,3.685)])
P(tap, metal1, [(0.78,0.13),(0.78,0.73),(0.78,1.82),(1.01,1.82),(1.01,0.73),(1.255,0.73),(1.255,0.13)],
  [(0.78,3.405),(0.78,4.05),(0.78,4.91),(1.255,4.91),(1.255,4.05),(1.01,4.05),(1.01,3.405)])
R(tap, dualgate, [(0.415,0.15,1.475,4.93)])
R(tap, v5_xtor, [(0.635,0.43,1.195,4.35)])
R(tap, lvpwell, [(0.265,2.59,1.395,4.78)])

dffrnq = lib.new_cell('dffrnq')
R(dffrnq, boundary, [(-4.465,11.575,14.575,15.495)])
P(dffrnq, nwell, [(-4.665,13.335),(-4.665,15.925),(15.005,15.925),(15.005,13.335),(8.05,13.335),(8.05,13.47),(5.135,13.47),(5.135,13.335)])
R(dffrnq, comp, [(12.84,11.92,14.32,12.735), (-4.285,12.33,-1.685,12.735), (-4.185,13.935,-1.785,14.8), (12.94,13.935,14.32,15.15)])
P(dffrnq, comp, [(10.22,14.155),(10.22,14.21),(4.955,14.21),(4.955,14.715),(10.18,14.715),(10.18,15.155),(12.58,15.155),(12.58,14.155)],
  [(3.955,12.195),(3.955,12.355),(-1.305,12.355),(-1.305,12.715),(5.515,12.715),(5.515,12.87),(5.875,12.87),(5.875,12.715),(7.075,12.715),(7.075,12.87),(7.435,12.87),(7.435,12.715),(12.48,12.715),(12.48,12.315),(11.04,12.315),(11.04,12.355),(4.315,12.355),(4.315,12.195)],
  [(-1.425,13.935),(-1.425,14.715),(2.875,14.715),(2.875,14.875),(3.235,14.875),(3.235,14.715),(4.595,14.715),(4.595,13.935)])
R(dffrnq, poly2, [(6.175,12.135,6.775,13.175)])
P(dffrnq, poly2, [(13.28,11.695),(13.28,13.395),(13.38,13.395),(13.38,15.375),(13.88,15.375),(13.88,11.695)],
  [(11.44,11.695),(11.44,12.955),(11.64,12.955),(11.64,15.375),(12.14,15.375),(12.14,13.035),(12.04,13.035),(12.04,11.695)],
  [(3.055,11.695),(3.055,13.635),(3.655,13.635),(3.655,14.935),(4.155,14.935),(4.155,13.435),(3.655,13.435),(3.655,11.895),(10.14,11.895),(10.14,12.935),(10.36,12.935),(10.36,13.635),(10.62,13.635),(10.62,15.375),(11.12,15.375),(11.12,13.38),(10.74,13.38),(10.74,11.695)],
  [(8.86,12.135),(8.86,13.415),(9.38,13.415),(9.38,14.935),(9.88,14.935),(9.88,13.635),(9.62,13.635),(9.62,13.015),(9.46,13.015),(9.46,12.135)],
  [(8.36,13.75),(8.36,14.935),(8.86,14.935),(8.86,13.99),(8.72,13.99),(8.72,13.75)],
  [(-2.725,11.695),(-2.725,15.375),(7.355,15.375),(7.355,13.91),(7.935,13.91),(7.935,12.935),(8.335,12.935),(8.335,12.135),(7.735,12.135),(7.735,13.71),(6.855,13.71),(6.855,15.175),(1.555,15.175),(1.555,13.715),(1.055,13.715),(1.055,15.175),(-2.225,15.175),(-2.225,13.015),(-2.125,13.015),(-2.125,11.895),(0.255,11.895),(0.255,12.935),(0.855,12.935),(0.855,11.695)],
  [(4.615,12.135),(4.615,12.935),(5.015,12.935),(5.015,13.91),(5.395,13.91),(5.395,14.935),(5.895,14.935),(5.895,13.645),(5.215,13.645),(5.215,12.135)],
  [(2.215,12.135),(2.215,13.69),(2.075,13.69),(2.075,14.935),(2.575,14.935),(2.575,12.975),(2.815,12.975),(2.815,12.135)],
  [(1.375,12.135),(1.375,13.175),(0.035,13.175),(0.035,14.935),(0.535,14.935),(0.535,13.375),(1.975,13.375),(1.975,12.135)],
  [(-0.865,12.135),(-0.865,13.085),(-0.985,13.085),(-0.985,14.935),(-0.485,14.935),(-0.485,13.185),(-0.265,13.185),(-0.265,12.135)],
  [(-3.845,12.11),(-3.845,13.015),(-3.745,13.015),(-3.745,15.025),(-3.245,15.025),(-3.245,12.11)])
P(dffrnq, pplus, [(-4.665,13.335),(-4.665,15.695),(14.775,15.695),(14.775,13.335),(8.05,13.335),(8.05,13.47),(5.135,13.47),(5.135,13.335)])
P(dffrnq, nplus, [(-4.665,11.375),(-4.665,13.335),(5.135,13.335),(5.135,13.47),(8.05,13.47),(8.05,13.335),(14.775,13.335),(14.775,11.375)])
A(dffrnq, contact, -1.235, 12.425, 0.22, 0.22, 3, 1, 1.12, 0)
R(dffrnq, contact, [(12.91,12.225,13.13,12.445), (14.03,12.225,14.25,12.445), (4.025,12.265,4.245,12.485), (-3.095,12.4,-2.875,12.62), (8.49,12.425,8.71,12.645), (9.61,12.425,9.83,12.645), (12.19,12.425,12.41,12.645), (-4.215,12.445,-3.995,12.665), (-1.975,12.445,-1.755,12.665), (5.585,12.58,5.805,12.8), (7.145,12.58,7.365,12.8), (1.585,12.885,1.805,13.105), (6.465,12.885,6.685,13.105), (10.45,12.885,10.67,13.105), (-2.655,12.98,-2.435,13.2), (13.485,13.03,13.705,13.25), (2.285,13.19,2.505,13.41), (-3.675,13.41,-3.455,13.63), (-0.915,13.46,-0.695,13.68), (0.225,13.545,0.445,13.765), (11.73,13.545,11.95,13.765), (9.59,13.755,9.81,13.975), (5.465,13.82,5.685,14.04), (8.43,13.82,8.65,14.04), (-4.115,14.04,-3.895,14.26), (-2.075,14.04,-1.855,14.26), (-0.335,14.055,-0.115,14.275), (0.685,14.055,0.905,14.275), (13.01,14.205,13.23,14.425), (14.03,14.205,14.25,14.425), (11.27,14.225,11.49,14.445), (12.29,14.225,12.51,14.445), (1.705,14.25,1.925,14.47), (9.01,14.28,9.23,14.5), (-1.355,14.425,-1.135,14.645), (4.305,14.425,4.525,14.645), (5.025,14.425,5.245,14.645), (6.335,14.425,6.555,14.645), (7.75,14.425,7.97,14.645), (-3.095,14.445,-2.875,14.665), (-4.115,14.51,-3.895,14.73), (-2.075,14.51,-1.855,14.73), (2.945,14.585,3.165,14.805), (13.01,14.675,13.23,14.895), (14.03,14.675,14.25,14.895), (12.29,14.695,12.51,14.915), (10.25,14.86,10.47,15.08)])
R(dffrnq, metal1, [(14.01,12.125,14.445,14.955), (-4.185,13.345,-2.895,13.725), (-1.575,13.345,-0.545,13.725)])
P(dffrnq, metal1, [(13.005,14.105),(13.005,15.195),(12.515,15.195),(12.515,14.165),(12.285,14.165),(12.285,15.195),(10.53,15.195),(10.53,14.855),(10.19,14.855),(10.19,15.195),(5.25,15.195),(5.25,14.365),(5.02,14.365),(5.02,15.195),(3.225,15.195),(3.225,14.565),(2.885,14.565),(2.885,15.195),(-1.075,15.195),(-1.075,14.42),(-1.415,14.42),(-1.415,15.195),(-2.815,15.195),(-2.815,14.44),(-3.155,14.44),(-3.155,15.195),(-4.465,15.195),(-4.465,15.795),(14.575,15.795),(14.575,15.195),(13.235,15.195),(13.235,14.105)],
  [(-4.465,11.275),(-4.465,11.875),(-3.155,11.875),(-3.155,12.625),(-2.81,12.625),(-2.81,11.875),(-1.295,11.875),(-1.295,12.65),(-0.955,12.65),(-0.955,11.875),(3.965,11.875),(3.965,12.49),(4.305,12.49),(4.305,11.875),(9.605,11.875),(9.605,12.705),(9.835,12.705),(9.835,11.875),(12.85,11.875),(12.85,12.45),(13.19,12.45),(13.19,11.875),(14.575,11.875),(14.575,11.275)],
  [(12.185,12.365),(12.185,13.025),(11.265,13.025),(11.265,13.75),(9.53,13.75),(9.53,13.98),(11.265,13.98),(11.265,14.505),(11.495,14.505),(11.495,13.255),(13.765,13.255),(13.765,13.025),(12.415,13.025),(12.415,12.365)],
  [(7.085,12.575),(7.085,13.625),(7.745,13.625),(7.745,14.965),(9.96,14.965),(9.96,14.625),(10.77,14.625),(10.77,14.965),(11.955,14.965),(11.955,13.485),(11.725,13.485),(11.725,14.735),(11,14.735),(11,14.395),(9.73,14.395),(9.73,14.735),(7.975,14.735),(7.975,13.395),(7.425,13.395),(7.425,12.575)],
  [(10.195,12.235),(10.195,13.405),(10.74,13.405),(10.74,12.595),(11.83,12.595),(11.83,12.235)],
  [(8.485,12.365),(8.485,12.705),(8.95,12.705),(8.95,14.505),(9.29,14.505),(9.29,12.365)],
  [(4.535,12.105),(4.535,12.725),(1.58,12.725),(1.58,13.165),(1.81,13.165),(1.81,12.955),(4.765,12.955),(4.765,12.335),(6.46,12.335),(6.46,13.165),(6.69,13.165),(6.69,12.335),(7.655,12.335),(7.655,13.165),(8.425,13.165),(8.425,14.1),(8.655,14.1),(8.655,12.935),(7.885,12.935),(7.885,12.105)],
  [(5.525,12.575),(5.525,13.185),(2.225,13.185),(2.225,13.415),(5.975,13.415),(5.975,14.65),(6.615,14.65),(6.615,14.42),(6.205,14.42),(6.205,13.185),(5.865,13.185),(5.865,12.575)],
  [(1,12.365),(1,13.645),(0.68,13.645),(0.68,14.335),(0.91,14.335),(0.91,13.875),(5.39,13.875),(5.39,14.1),(5.69,14.1),(5.69,13.645),(1.23,13.645),(1.23,12.365)],
  [(1.7,14.105),(1.7,14.53),(1.93,14.53),(1.93,14.335),(4.3,14.335),(4.3,14.705),(4.53,14.705),(4.53,14.105)],
  [(-2.2,12.44),(-2.2,14.79),(-1.85,14.79),(-1.85,14.19),(-0.8,14.19),(-0.8,14.795),(0.45,14.795),(0.45,13.485),(0.22,13.485),(0.22,14.565),(-0.57,14.565),(-0.57,13.96),(-1.97,13.96),(-1.97,12.67),(-1.695,12.67),(-1.695,12.44)],
  [(-0.24,12.42),(-0.24,13.995),(-0.34,13.995),(-0.34,14.335),(-0.01,14.335),(-0.01,12.65),(0.165,12.65),(0.165,12.42)],
  [(-4.22,12.385),(-4.22,13.085),(-2.66,13.085),(-2.66,13.98),(-4.12,13.98),(-4.12,14.8),(-3.89,14.8),(-3.89,14.21),(-2.43,14.21),(-2.43,12.855),(-3.99,12.855),(-3.99,12.385)])
R(dffrnq, dualgate, [(-4.745,11.295,14.855,15.775)])
R(dffrnq, v5_xtor, [(-4.465,11.575,14.575,15.495)])
P(dffrnq, lvpwell, [(-4.895,11.145),(-4.895,13.335),(5.135,13.335),(5.135,13.47),(8.05,13.47),(8.05,13.335),(15.005,13.335),(15.005,11.145)])
dffrnq.add(gdstk.Label('& Metric 1.00', (-4.465,12.075), layer=63, texttype=63))
dffrnq.add(gdstk.Label('& Version 2015q2v1', (-4.465,12.575), layer=63, texttype=63))
dffrnq.add(gdstk.Label('& Product GF018hv5v_mcu_sc7', (-4.465,13.075), layer=63, texttype=63))
dffrnq.add(gdstk.Label('& Vendor GLOBALFOUNDRIES', (-4.465,13.575), layer=63, texttype=63))
dffrnq.add(gdstk.Label('VNW', (-4.12,15.495), layer=21, texttype=10))
dffrnq.add(gdstk.Label('VPW', (-4.125,11.49), layer=204, texttype=10))

tap2 = lib.new_cell('tap2')
R(tap2, boundary, [(-2.38,0.43,-1.935,4.35)])
R(tap2, nwell, [(-2.42,2.19,-1.565,4.78)])
R(tap2, comp, [(-2.375,0.955,-2.015,1.52), (-2.375,2.79,-2.015,4.01)])
R(tap2, pplus, [(-2.42,0.23,-1.935,1.79)])
R(tap2, nplus, [(-2.42,2.59,-1.935,4.55)])
R(tap2, contact, [(-2.305,1.095,-2.085,1.315), (-2.305,3.06,-2.085,3.28), (-2.305,3.53,-2.085,3.75)])
P(tap2, metal1, [(-2.44,0.13),(-2.44,0.73),(-2.31,0.73),(-2.31,1.375),(-2.08,1.375),(-2.08,0.73),(-2.08,0.13)],
  [(-2.31,2.96),(-2.31,4.05),(-2.44,4.05),(-2.44,4.65),(-2.08,4.65),(-2.08,4.05),(-2.08,2.96)])
R(tap2, dualgate, [(-2.5,0.15,-1.715,4.63)])
R(tap2, v5_xtor, [(-2.38,0.43,-1.935,4.35)])
R(tap2, lvpwell, [(-2.42,0,-1.565,2.19)])

via_dev = lib.new_cell('via_dev')
R(via_dev, metal1, [(0,0,0.4,0.4)])
R(via_dev, via1, [(0.07,0.07,0.33,0.33)])
R(via_dev, metal2, [(0,0,0.4,0.4)])

inv1 = lib.new_cell('inv1')
R(inv1, boundary, [(0.43,0.43,2.67,4.35)])
R(inv1, nwell, [(0,2.19,3.1,4.78)])
R(inv1, comp, [(0.61,0.77,2.09,1.59), (0.71,2.79,2.09,4.01)])
P(inv1, poly2, [(1.05,0.55),(1.05,2.36),(1.15,2.36),(1.15,4.23),(1.65,4.23),(1.65,0.55)])
R(inv1, pplus, [(0.23,2.19,2.87,4.55)])
R(inv1, nplus, [(0.23,0.23,2.87,2.19)])
R(inv1, contact, [(0.68,1.165,0.9,1.385), (1.8,1.165,2.02,1.385), (1.22,1.85,1.44,2.07), (1.22,2.32,1.44,2.54), (0.78,3.06,1,3.28), (1.8,3.06,2.02,3.28), (0.78,3.53,1,3.75), (1.8,3.53,2.02,3.75)])
R(inv1, metal1, [(1.695,0.96,2.025,3.82), (1.14,1.63,1.465,2.63)])
P(inv1, metal1, [(0.43,0.13),(0.43,0.73),(0.675,0.73),(0.675,1.59),(0.905,1.59),(0.905,0.73),(2.67,0.73),(2.67,0.13)],
  [(0.775,2.96),(0.775,4.05),(0.43,4.05),(0.43,4.65),(2.67,4.65),(2.67,4.05),(1.005,4.05),(1.005,2.96)])
R(inv1, dualgate, [(0.15,0.15,2.95,4.63)])
R(inv1, v5_xtor, [(0.43,0.43,2.67,4.35)])
R(inv1, lvpwell, [(0,0,3.1,2.19)])
inv1.add(gdstk.Label('& Vendor GLOBALFOUNDRIES', (0.43,2.43), layer=63, texttype=63))
inv1.add(gdstk.Label('& Product GF018hv5v_mcu_sc7', (0.43,1.93), layer=63, texttype=63))
inv1.add(gdstk.Label('& Version 2015q2v1', (0.43,1.43), layer=63, texttype=63))
inv1.add(gdstk.Label('& Metric 1.00', (0.43,0.93), layer=63, texttype=63))
inv1.add(gdstk.Label('VNW', (0.775,4.35), layer=21, texttype=10))
inv1.add(gdstk.Label('VPW', (0.77,0.345), layer=204, texttype=10))

fsm = lib.new_cell('FSM')
R(fsm, boundary, [(14.35,6.365,14.91,10.285), (-15.82,11.145,-15.375,15.065)])
R(fsm, nwell, [(14.15,5.935,15.28,8.525), (-16.19,12.905,-15.335,15.495)])
R(fsm, comp, [(14.47,6.705,14.83,7.925), (14.47,9.195,14.83,9.76), (-15.74,11.67,-15.38,12.235), (-15.74,13.505,-15.38,14.725)])
R(fsm, pplus, [(14.15,8.925,15.05,10.485), (-15.82,10.945,-15.335,12.505)])
R(fsm, nplus, [(14.15,6.165,15.05,8.125), (-15.82,13.305,-15.335,15.265)])
R(fsm, contact, [(14.54,6.965,14.76,7.185), (14.54,7.435,14.76,7.655), (14.54,9.4,14.76,9.62), (-15.67,11.81,-15.45,12.03), (-15.67,13.775,-15.45,13.995), (-15.67,14.245,-15.45,14.465)])
R(fsm, metal1, [(-16.135,6.065,-14.705,6.685), (-14.23,6.065,-13.89,6.665), (-6.61,6.065,-6.21,6.665), (13.95,6.065,14.29,6.665), (-16.135,6.685,-15.905,14.745), (-14.23,9.985,-13.89,10.845), (-6.61,9.985,-6.21,10.845), (13.95,9.985,14.29,10.845), (-15.395,10.845,-15.055,11.445), (-11.705,10.845,-11.295,11.445), (-9.055,10.845,-8.655,11.445), (-5.295,10.845,-4.895,11.445), (14.145,10.845,14.405,11.445), (-9.7,12.325,-7.95,12.555), (-12.925,13.045,-12.13,13.275), (-16.135,14.745,-15.675,15.365), (-15.395,14.765,-15.055,15.365), (-11.705,14.765,-11.295,15.365), (-9.055,14.765,-8.655,15.365), (-5.295,14.765,-4.895,15.365), (14.145,14.765,14.405,15.365)])
P(fsm, metal1, [(14.535,9.34),(14.535,9.985),(14.29,9.985),(14.29,10.845),(14.765,10.845),(14.765,9.985),(14.765,9.34)],
  [(14.29,6.065),(14.29,6.665),(14.535,6.665),(14.535,7.755),(14.765,7.755),(14.765,6.665),(14.765,6.065)],
  [(-15.675,10.845),(-15.675,11.445),(-15.675,12.09),(-15.445,12.09),(-15.445,11.445),(-15.395,11.445),(-15.395,10.845)],
  [(-15.675,13.675),(-15.675,14.765),(-15.675,15.365),(-15.395,15.365),(-15.395,14.765),(-15.445,14.765),(-15.445,13.675)])
R(fsm, metal2, [(-14.44,6.905,12.835,7.185), (-14.44,7.185,-14.16,12.325), (-13.76,7.575,-9.32,7.855), (-6.34,7.585,-3.32,7.865), (-3.32,7.585,-3.04,8.135), (-13.76,7.855,-13.48,11.745), (-6.145,8.145,-5.865,12.895), (-13.08,8.165,-12.8,11.745), (-12.8,8.165,-12.68,8.565), (9.075,8.255,9.765,8.535), (9.765,8.255,10.045,11.805), (-10.54,8.84,-10.26,12.535), (-10.26,8.84,-9.95,9.12), (-13.76,12.145,-13.48,12.705), (-13.48,12.425,-11.17,12.705), (-11.45,12.705,-11.17,13.215), (-6.145,12.895,-5.015,13.175), (-11.45,13.215,-6.43,13.495), (-1.94,13.295,-1.66,13.575), (-12.01,13.385,-11.73,14.47), (-5.59,13.575,-1.66,13.855), (-11.73,14.19,13.18,14.47)])
R(fsm, dualgate, [(14.07,6.085,15.13,10.865), (-16.04,10.865,-15.255,15.345)])
R(fsm, v5_xtor, [(14.35,6.365,14.91,10.285), (-15.82,11.145,-15.375,15.065)])
R(fsm, lvpwell, [(14.15,8.525,15.28,10.715), (-16.19,10.715,-15.335,12.905)])
fsm.add(gdstk.Reference(mux21, (-21.265,-7.325), rotation=pi, x_reflection=True))
fsm.add(gdstk.Reference(nor2_2, (11.09,4.02)))
fsm.add(gdstk.Reference(dffsnq, (-22.14,-7.655)))
fsm.add(gdstk.Reference(nor2_1, (10.71,-7.345)))
fsm.add(gdstk.Reference(tap, (-15.485,5.935)))
fsm.add(gdstk.Reference(dffrnq, (-0.43,-0.43)))
fsm.add(gdstk.Reference(tap2, (16.845,10.715)))
fsm.add(gdstk.Reference(via_dev, (-6.43,12.875), rotation=pi/2))
fsm.add(gdstk.Reference(via_dev, (13.58,14.125), rotation=pi/2))
fsm.add(gdstk.Reference(via_dev, (-11.73,12.985), rotation=pi/2))
fsm.add(gdstk.Reference(via_dev, (-1.605,12.895), rotation=pi/2))
fsm.add(gdstk.Reference(via_dev, (-5.59,13.505), rotation=pi/2))
fsm.add(gdstk.Reference(via_dev, (-4.615,12.895), rotation=pi/2))
fsm.add(gdstk.Reference(via_dev, (-5.935,8.145), rotation=pi/2))
fsm.add(gdstk.Reference(via_dev, (-10.26,12.535), rotation=pi/2))
fsm.add(gdstk.Reference(via_dev, (-13.48,11.745), rotation=pi/2))
fsm.add(gdstk.Reference(via_dev, (-8.92,7.575), rotation=pi/2))
fsm.add(gdstk.Reference(via_dev, (-12.28,8.165), rotation=pi/2))
fsm.add(gdstk.Reference(via_dev, (-9.55,8.84), rotation=pi/2))
fsm.add(gdstk.Reference(via_dev, (-6.34,7.465), rotation=pi/2))
fsm.add(gdstk.Reference(via_dev, (-2.92,8.135), rotation=pi/2))
fsm.add(gdstk.Reference(via_dev, (9.075,8.135), rotation=pi/2))
fsm.add(gdstk.Reference(via_dev, (10.165,11.805), rotation=pi/2))
fsm.add(gdstk.Reference(via_dev, (-14.16,12.325), rotation=pi/2))
fsm.add(gdstk.Reference(via_dev, (12.835,7.305), rotation=3*pi/2))
fsm.add(gdstk.Reference(via_dev, (-12.8,11.745), rotation=pi/2))
fsm.add(gdstk.Reference(inv1, (-11.725,10.715)))
fsm.add(gdstk.Label('MODE', (-10.41,13.145), layer=34, texttype=10))
fsm.add(gdstk.Label('RSTn', (10.155,11.965), layer=34, texttype=10))
fsm.add(gdstk.Label('VSS', (-4.695,10.295), layer=34, texttype=10))
fsm.add(gdstk.Label('CLK', (-5.255,8.335), layer=34, texttype=10))
fsm.add(gdstk.Label('VDD', (-4.695,6.375), layer=34, texttype=10))
fsm.add(gdstk.Label('TREAT_EN', (-13.11,13.63), layer=34, texttype=10))
fsm.add(gdstk.Label('VSS', (-3.845,11.125), layer=34, texttype=10))
fsm.add(gdstk.Label('CLK', (-4.405,13.085), layer=34, texttype=10))
fsm.add(gdstk.Label('VDD', (-3.845,15.045), layer=34, texttype=10))
fsm.add(gdstk.Label('REC_EN', (-13.12,12.545), layer=34, texttype=10))
fsm.add(gdstk.Label('VSS', (-14.9,11.1), layer=34, texttype=10))
fsm.add(gdstk.Label('VDD', (-14.85,15.065), layer=34, texttype=10))

lib.write_gds('FSM.gds')
